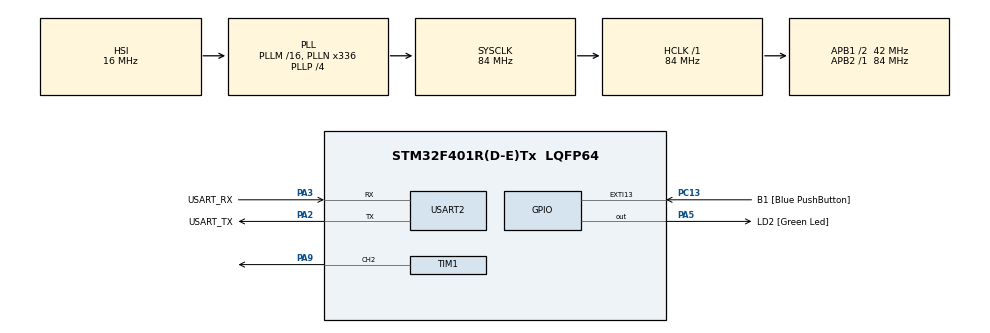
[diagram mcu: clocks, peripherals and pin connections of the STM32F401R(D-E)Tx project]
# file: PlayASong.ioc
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Mcu.Family=STM32F4
Mcu.Name=STM32F401R(D-E)Tx
Mcu.Package=LQFP64
NVIC.PriorityGroup=NVIC_PRIORITYGROUP_0
PA13.GPIO_Label=TMS
PA13.Mode=Serial_Wire
PA13.Signal=SYS_JTMS-SWDIO
PA14.GPIO_Label=TCK
PA14.Mode=Serial_Wire
PA14.Signal=SYS_JTCK-SWCLK
PA2.GPIO_Label=USART_TX
PA2.GPIO_Mode=GPIO_MODE_AF_PP
PA2.GPIO_PuPd=GPIO_NOPULL
PA2.GPIO_Speed=GPIO_SPEED_FREQ_LOW
PA2.Mode=Asynchronous
PA2.Signal=USART2_TX
PA3.GPIO_Label=USART_RX
PA3.GPIO_Mode=GPIO_MODE_AF_PP
PA3.GPIO_PuPd=GPIO_NOPULL
PA3.GPIO_Speed=GPIO_SPEED_FREQ_LOW
PA3.Mode=Asynchronous
PA3.Signal=USART2_RX
PA5.GPIO_Label=LD2 [Green Led]
PA5.GPIO_Mode=GPIO_MODE_OUTPUT_PP
PA5.GPIO_PuPd=GPIO_NOPULL
PA5.GPIO_Speed=GPIO_SPEED_FREQ_LOW
PA5.Signal=GPIO_Output
PA9.Signal=S_TIM1_CH2
PB3.GPIO_Label=SWO
PB3.Signal=SYS_JTDO-SWO
PC13-ANTI_TAMP.GPIO_Label=B1 [Blue PushButton]
PC13-ANTI_TAMP.GPIO_ModeDefaultEXTI=GPIO_MODE_IT_FALLING
PC13-ANTI_TAMP.GPIO_PuPd=GPIO_NOPULL
PC13-ANTI_TAMP.Signal=GPXTI13
PC14-OSC32_IN.Mode=LSE-External-Oscillator
PC14-OSC32_IN.Signal=RCC_OSC32_IN
PC15-OSC32_OUT.Mode=LSE-External-Oscillator
PC15-OSC32_OUT.Signal=RCC_OSC32_OUT
PH0\ -\ OSC_IN.Mode=HSE-External-Clock-Source
PH0\ -\ OSC_IN.Signal=RCC_OSC_IN
PH1\ -\ OSC_OUT.Mode=HSE-External-Clock-Source
PH1\ -\ OSC_OUT.Signal=RCC_OSC_OUT
ProjectManager.HeapSize=0x200
ProjectManager.StackSize=0x400
ProjectManager.TargetToolchain=STM32CubeIDE
RCC.48MHZClocksFreq_Value=48000000
RCC.AHBFreq_Value=84000000
RCC.APB1CLKDivider=RCC_HCLK_DIV2
RCC.APB1Freq_Value=42000000
RCC.APB1TimFreq_Value=84000000
RCC.APB2Freq_Value=84000000
RCC.APB2TimFreq_Value=84000000
RCC.CortexFreq_Value=84000000
RCC.HCLKFreq_Value=84000000
RCC.HSE_VALUE=8000000
RCC.HSI_VALUE=16000000
RCC.PLLN=336
RCC.PLLP=RCC_PLLP_DIV4
RCC.PLLQ=7
RCC.SYSCLKFreq_VALUE=84000000
RCC.SYSCLKSource=RCC_SYSCLKSOURCE_PLLCLK
RCC.VCOOutputFreq_Value=336000000
SH.S_TIM1_CH2.0=TIM1_CH2,PWM Generation2 CH2
TIM1.Channel-PWM\ Generation2\ CH2=TIM_CHANNEL_2
TIM1.Period=1700
TIM1.Prescaler=100-1
TIM1.Pulse-PWM\ Generation2\ CH2=850
USART2.VirtualMode=VM_ASYNC
VP_TIM1_VS_ClockSourceINT.Mode=Internal
board=NUCLEO-F401RE

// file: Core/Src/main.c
/* USER CODE BEGIN Header */
/**
 ******************************************************************************
 * @file           : main.c
 * @brief          : Play a song
 ******************************************************************************
 * @attention
 *
 * <h2><center>&copy; Copyright (c) 2021 STMicroelectronics.
 * All rights reserved.</center></h2>
 *
 * This software component is licensed by ST under BSD 3-Clause license,
 * the "License"; You may not use this file except in compliance with the
 * License. You may obtain a copy of the License at:
 *                        opensource.org/licenses/BSD-3-Clause
 *
 ******************************************************************************
 */
/* USER CODE END Header */
#include "main.h"

/* USER CODE BEGIN Includes */
#include <stdlib.h>
#include <stdio.h>
/* USER CODE END Includes */

/* USER CODE BEGIN PD */
#define CROMA_DURATION 125
/* USER CODE END PD */

TIM_HandleTypeDef htim1;

UART_HandleTypeDef huart2;

/* USER CODE BEGIN PV */
typedef struct NoteStruct {
	int period;
	int pulse;
} Note;

const Note Do4 = { 3206 - 1 };
const Note Do4D = { 3032 - 1 };
const Note Re4 = { 2857 - 1 };
const Note Re4D = { 2700 - 1 };
const Note Mi4 = { 2545 - 1 };
const Note Fa4 = { 2407 - 1 };
const Note Fa4D = { 2270 - 1 };
const Note Sol4 = { 2142 - 1 };
const Note Sol4D = { 2024 - 1 };
const Note La4 = { 1909 - 1 };
const Note La4D = { 1802 - 1 };
const Note Si4 = { 1700 - 1 };
const Note Do5 = { 1596 - 1 };

typedef struct NotePentagramStruct {
	Note note;
	int duration;
} NotePentagram;

// song
NotePentagram song1[] = { { Sol4, 6 }, { La4, 2 }, { Sol4, 4 }, { Fa4, 4 }, {
		Mi4, 4 }, { Fa4, 4 }, { Sol4, 8 }, { Re4, 4 }, { Mi4, 4 }, { Fa4, 8 }, {
		Mi4, 4 }, { Fa4, 4 }, { Sol4, 8 }, { Sol4, 6 }, { La4, 2 }, { Sol4, 4 },
		{ Fa4, 4 }, { Mi4, 4 }, { Fa4, 4 }, { Sol4, 8 }, { Re4, 8 },
		{ Sol4, 8 }, { Mi4, 4 }, { Do4, 12 } };

NotePentagram CinquantaSpecial[] = { { Do4, 2 }, { Do4, 2 }, { Do4, 2 }, { Do5,
		4 }, { La4, 4 }, { Fa4, 4 }, { Re4, 2 }, { Do5, 6 }, { Fa4, 4 }, { Fa4,
		4 }, { Re4, 2 }, { Fa4, 6 }, { Fa4, 4 }, { Fa4, 4 }, { Fa4, 2 }, { Mi4,
		6 } };

/* USER CODE END PV */

void SystemClock_Config(void);
static void MX_GPIO_Init(void);
static void MX_USART2_UART_Init(void);
static void MX_TIM1_Init(void);

/* USER CODE BEGIN 0 */

void setChannel(int period, int pulse) {
	// configuring the period
	htim1.Init.Period = period;
	HAL_TIM_Base_Init(&htim1);

	// configuring the pulse
	TIM_OC_InitTypeDef sConfigOC = { 0 };
	sConfigOC.OCMode = TIM_OCMODE_PWM1;
	sConfigOC.Pulse = pulse;
	sConfigOC.OCPolarity = TIM_OCPOLARITY_HIGH;
	sConfigOC.OCNPolarity = TIM_OCNPOLARITY_HIGH;
	sConfigOC.OCFastMode = TIM_OCFAST_DISABLE;
	sConfigOC.OCIdleState = TIM_OCIDLESTATE_RESET;
	sConfigOC.OCNIdleState = TIM_OCNIDLESTATE_RESET;
	HAL_TIM_PWM_ConfigChannel(&htim1, &sConfigOC, TIM_CHANNEL_2);
}

void playNote(NotePentagram note) {
	setChannel(note.note.period, note.note.period / 2);
	HAL_TIM_PWM_Start(&htim1, TIM_CHANNEL_2);
	HAL_Delay(note.duration * CROMA_DURATION);
	HAL_TIM_PWM_Stop(&htim1, TIM_CHANNEL_2);
}

/* USER CODE END 0 */

int main(void) {

	/* MCU Configuration--------------------------------------------------------*/

	/* Reset of all peripherals, Initializes the Flash interface and the Systick. */
	HAL_Init();

	/* Configure the system clock */
	SystemClock_Config();

	/* Initialize all configured peripherals */
	MX_GPIO_Init();
	MX_USART2_UART_Init();
	MX_TIM1_Init();
	/* USER CODE BEGIN 2 */
	NotePentagram song = song1;
	for (int i = 0; i < sizeof(song) / sizeof(NotePentagram); i++) {
		playNote(song[i]);
	}
	/* USER CODE END 2 */

	/* Infinite loop */
	while (1) {

	}
}

void SystemClock_Config(void) {
	RCC_OscInitTypeDef RCC_OscInitStruct = { 0 };
	RCC_ClkInitTypeDef RCC_ClkInitStruct = { 0 };

	/** Configure the main internal regulator output voltage
	 */
	__HAL_RCC_PWR_CLK_ENABLE();
	__HAL_PWR_VOLTAGESCALING_CONFIG(PWR_REGULATOR_VOLTAGE_SCALE2);
	/** Initializes the RCC Oscillators according to the specified parameters
	 * in the RCC_OscInitTypeDef structure.
	 */
	RCC_OscInitStruct.OscillatorType = RCC_OSCILLATORTYPE_HSI;
	RCC_OscInitStruct.HSIState = RCC_HSI_ON;
	RCC_OscInitStruct.HSICalibrationValue = RCC_HSICALIBRATION_DEFAULT;
	RCC_OscInitStruct.PLL.PLLState = RCC_PLL_ON;
	RCC_OscInitStruct.PLL.PLLSource = RCC_PLLSOURCE_HSI;
	RCC_OscInitStruct.PLL.PLLM = 16;
	RCC_OscInitStruct.PLL.PLLN = 336;
	RCC_OscInitStruct.PLL.PLLP = RCC_PLLP_DIV4;
	RCC_OscInitStruct.PLL.PLLQ = 7;
	if (HAL_RCC_OscConfig(&RCC_OscInitStruct) != HAL_OK) {
		Error_Handler();
	}
	/** Initializes the CPU, AHB and APB buses clocks
	 */
	RCC_ClkInitStruct.ClockType = RCC_CLOCKTYPE_HCLK | RCC_CLOCKTYPE_SYSCLK
			| RCC_CLOCKTYPE_PCLK1 | RCC_CLOCKTYPE_PCLK2;
	RCC_ClkInitStruct.SYSCLKSource = RCC_SYSCLKSOURCE_PLLCLK;
	RCC_ClkInitStruct.AHBCLKDivider = RCC_SYSCLK_DIV1;
	RCC_ClkInitStruct.APB1CLKDivider = RCC_HCLK_DIV2;
	RCC_ClkInitStruct.APB2CLKDivider = RCC_HCLK_DIV1;

	if (HAL_RCC_ClockConfig(&RCC_ClkInitStruct, FLASH_LATENCY_2) != HAL_OK) {
		Error_Handler();
	}
}

static void MX_TIM1_Init(void) {

	TIM_ClockConfigTypeDef sClockSourceConfig = { 0 };
	TIM_MasterConfigTypeDef sMasterConfig = { 0 };
	TIM_OC_InitTypeDef sConfigOC = { 0 };
	TIM_BreakDeadTimeConfigTypeDef sBreakDeadTimeConfig = { 0 };

	htim1.Instance = TIM1;
	htim1.Init.Prescaler = 100 - 1;
	htim1.Init.CounterMode = TIM_COUNTERMODE_UP;
	htim1.Init.Period = 1700;
	htim1.Init.ClockDivision = TIM_CLOCKDIVISION_DIV1;
	htim1.Init.RepetitionCounter = 0;
	htim1.Init.AutoReloadPreload = TIM_AUTORELOAD_PRELOAD_DISABLE;
	if (HAL_TIM_Base_Init(&htim1) != HAL_OK) {
		Error_Handler();
	}
	sClockSourceConfig.ClockSource = TIM_CLOCKSOURCE_INTERNAL;
	if (HAL_TIM_ConfigClockSource(&htim1, &sClockSourceConfig) != HAL_OK) {
		Error_Handler();
	}
	if (HAL_TIM_PWM_Init(&htim1) != HAL_OK) {
		Error_Handler();
	}
	sMasterConfig.MasterOutputTrigger = TIM_TRGO_RESET;
	sMasterConfig.MasterSlaveMode = TIM_MASTERSLAVEMODE_DISABLE;
	if (HAL_TIMEx_MasterConfigSynchronization(&htim1, &sMasterConfig)
			!= HAL_OK) {
		Error_Handler();
	}
	sConfigOC.OCMode = TIM_OCMODE_PWM1;
	sConfigOC.Pulse = 850;
	sConfigOC.OCPolarity = TIM_OCPOLARITY_HIGH;
	sConfigOC.OCNPolarity = TIM_OCNPOLARITY_HIGH;
	sConfigOC.OCFastMode = TIM_OCFAST_DISABLE;
	sConfigOC.OCIdleState = TIM_OCIDLESTATE_RESET;
	sConfigOC.OCNIdleState = TIM_OCNIDLESTATE_RESET;
	if (HAL_TIM_PWM_ConfigChannel(&htim1, &sConfigOC, TIM_CHANNEL_2)
			!= HAL_OK) {
		Error_Handler();
	}
	sBreakDeadTimeConfig.OffStateRunMode = TIM_OSSR_DISABLE;
	sBreakDeadTimeConfig.OffStateIDLEMode = TIM_OSSI_DISABLE;
	sBreakDeadTimeConfig.LockLevel = TIM_LOCKLEVEL_OFF;
	sBreakDeadTimeConfig.DeadTime = 0;
	sBreakDeadTimeConfig.BreakState = TIM_BREAK_DISABLE;
	sBreakDeadTimeConfig.BreakPolarity = TIM_BREAKPOLARITY_HIGH;
	sBreakDeadTimeConfig.AutomaticOutput = TIM_AUTOMATICOUTPUT_DISABLE;
	if (HAL_TIMEx_ConfigBreakDeadTime(&htim1, &sBreakDeadTimeConfig)
			!= HAL_OK) {
		Error_Handler();
	}
	HAL_TIM_MspPostInit(&htim1);

}

static void MX_USART2_UART_Init(void) {

	huart2.Instance = USART2;
	huart2.Init.BaudRate = 115200;
	huart2.Init.WordLength = UART_WORDLENGTH_8B;
	huart2.Init.StopBits = UART_STOPBITS_1;
	huart2.Init.Parity = UART_PARITY_NONE;
	huart2.Init.Mode = UART_MODE_TX_RX;
	huart2.Init.HwFlowCtl = UART_HWCONTROL_NONE;
	huart2.Init.OverSampling = UART_OVERSAMPLING_16;
	if (HAL_UART_Init(&huart2) != HAL_OK) {
		Error_Handler();
	}

}

static void MX_GPIO_Init(void) {
	GPIO_InitTypeDef GPIO_InitStruct = { 0 };

	/* GPIO Ports Clock Enable */
	__HAL_RCC_GPIOC_CLK_ENABLE();
	__HAL_RCC_GPIOH_CLK_ENABLE();
	__HAL_RCC_GPIOA_CLK_ENABLE();
	__HAL_RCC_GPIOB_CLK_ENABLE();

	/*Configure GPIO pin Output Level */
	HAL_GPIO_WritePin(LD2_GPIO_Port, LD2_Pin, GPIO_PIN_RESET);

	/*Configure GPIO pin : B1_Pin */
	GPIO_InitStruct.Pin = B1_Pin;
	GPIO_InitStruct.Mode = GPIO_MODE_IT_FALLING;
	GPIO_InitStruct.Pull = GPIO_NOPULL;
	HAL_GPIO_Init(B1_GPIO_Port, &GPIO_InitStruct);

	/*Configure GPIO pin : LD2_Pin */
	GPIO_InitStruct.Pin = LD2_Pin;
	GPIO_InitStruct.Mode = GPIO_MODE_OUTPUT_PP;
	GPIO_InitStruct.Pull = GPIO_NOPULL;
	GPIO_InitStruct.Speed = GPIO_SPEED_FREQ_LOW;
	HAL_GPIO_Init(LD2_GPIO_Port, &GPIO_InitStruct);

}

void Error_Handler(void) {
	__disable_irq();
	while (1) {
	}
}

/************************ (C) COPYRIGHT STMicroelectronics *****END OF FILE****/
